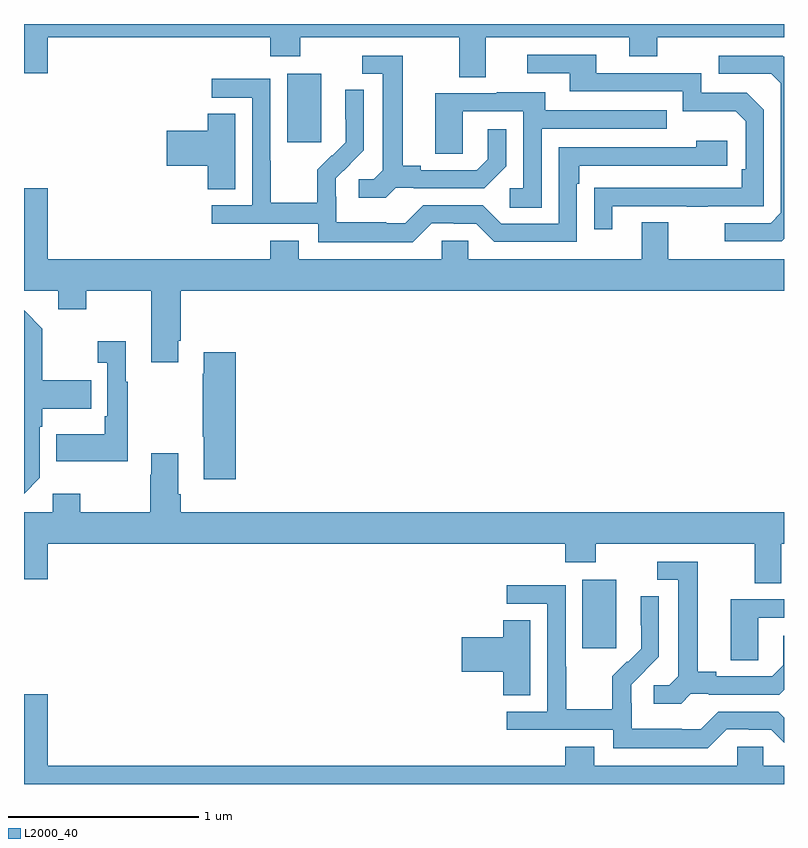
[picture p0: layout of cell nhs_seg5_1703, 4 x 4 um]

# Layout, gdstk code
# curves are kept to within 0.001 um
import gdstk
lib = gdstk.Library(unit=1e-6, precision=1e-09)
def R(c, l, rs):  # rectangles x0, y0, x1, y1
    for r in rs: c.add(gdstk.rectangle(r[:2], r[2:], *l))
def P(c, l, *ps):  # polygons
    for p in ps: c.add(gdstk.Polygon(p, *l))
L2000_40 = (2000, 40)

nhs_seg5_1703 = lib.new_cell('nhs_seg5_1703')
R(nhs_seg5_1703, L2000_40, [(215.939,885.513,216.118,885.874), (214.385,888.177,214.564,888.538)])
P(nhs_seg5_1703, L2000_40, [(215.431,888.728),(216.185,888.728),(216.185,888.629),(216.333,888.629),(216.333,888.728),(217,888.728),(217,888.799),(213,888.799),(213,888.54),(213.124,888.54),(213.124,888.728),(214.295,888.728),(214.295,888.629),(214.455,888.629),(214.455,888.728),(215.291,888.728),(215.291,888.52),(215.431,888.52)],
  [(216.097,887.841),(216.487,887.841),(216.487,887.836),(216.599,887.836),(216.599,887.841),(216.894,887.841),(216.894,888.348),(216.804,888.438),(216.564,888.438),(216.564,888.54),(216.013,888.54),(216.013,888.636),(215.649,888.636),(215.649,888.54),(215.873,888.54),(215.873,888.444),(216.468,888.444),(216.468,888.341),(216.745,888.341),(216.798,888.288),(216.798,888.034),(216.778,888.034),(216.778,887.937),(216.001,887.936),(216.001,887.718),(216.097,887.718)],
  [(214.956,887.937),(215.05,887.937),(215.05,887.934),(215.422,887.934),(215.538,888.05),(215.538,888.244),(215.441,888.244),(215.441,888.087),(215.384,888.03),(215.089,888.03),(215.089,888.053),(214.993,888.053),(214.993,888.633),(214.779,888.633),(214.779,888.537),(214.889,888.537),(214.889,888.029),(214.842,887.982),(214.761,887.982),(214.761,887.885),(214.904,887.885)],
  [(217,887.668),(217,888.626),(216.993,888.633),(216.657,888.633),(216.657,888.537),(216.933,888.537),(216.984,888.486),(216.984,887.805),(216.93,887.751),(216.687,887.751),(216.687,887.655),(216.987,887.655)],
  [(215.145,887.751),(215.261,887.751),(215.261,887.748),(215.379,887.748),(215.475,887.652),(215.91,887.652),(215.91,887.957),(215.923,887.957),(215.923,888.054),(216.7,888.054),(216.7,888.184),(216.539,888.184),(216.539,888.15),(215.814,888.15),(215.814,887.748),(215.511,887.748),(215.415,887.844),(215.1,887.844),(215.007,887.751),(214.907,887.751),(214.907,887.755),(214.644,887.755),(214.644,887.889),(214.642,887.889),(214.642,887.986),(214.788,888.134),(214.788,888.452),(214.692,888.452),(214.692,888.298),(214.694,888.298),(214.694,888.176),(214.623,888.105),(214.62,888.108),(214.543,888.031),(214.543,887.857),(214.299,887.857),(214.299,888.08),(214.296,888.08),(214.296,888.51),(213.987,888.51),(213.987,888.411),(214.2,888.411),(214.2,887.844),(213.987,887.844),(213.987,887.748),(214.548,887.748),(214.548,887.651),(215.045,887.651)],
  [(215.724,888.249),(216.383,888.249),(216.383,888.345),(215.743,888.345),(215.743,888.439),(215.489,888.439),(215.489,888.435),(215.165,888.435),(215.165,888.115),(215.31,888.115),(215.31,888.339),(215.628,888.339),(215.628,887.934),(215.556,887.934),(215.556,887.833),(215.724,887.833)],
  [(214.111,888.326),(213.968,888.326),(213.968,888.236),(213.75,888.236),(213.75,888.053),(213.968,888.053),(213.968,887.929),(214.111,887.929)],
  [(213.811,887.131),(213.824,887.131),(213.824,887.396),(217,887.396),(217,887.56),(216.391,887.56),(216.391,887.755),(216.251,887.755),(216.251,887.56),(215.337,887.56),(215.337,887.658),(215.199,887.658),(215.199,887.56),(214.447,887.56),(214.447,887.659),(214.295,887.659),(214.295,887.56),(213.124,887.56),(213.124,887.935),(213,887.935),(213,887.396),(213.179,887.396),(213.179,887.297),(213.327,887.297),(213.327,887.396),(213.671,887.396),(213.671,887.019),(213.811,887.019)],
  [(213.084,886.41),(213.084,886.679),(213.097,886.679),(213.097,886.775),(213.353,886.775),(213.353,886.923),(213.097,886.923),(213.097,887.195),(213,887.292),(213,886.326)],
  [(213.547,886.915),(213.535,886.915),(213.535,887.128),(213.387,887.128),(213.387,887.015),(213.438,887.015),(213.438,886.735),(213.426,886.735),(213.426,886.639),(213.169,886.639),(213.169,886.499),(213.547,886.499)],
  [(214.115,887.071),(213.947,887.071),(213.947,886.958),(213.94,886.958),(213.94,886.627),(213.947,886.627),(213.947,886.404),(214.115,886.404)],
  [(215.849,885.965),(216.009,885.965),(216.009,886.064),(216.845,886.064),(216.845,885.856),(216.985,885.856),(216.985,886.064),(217,886.064),(217,886.228),(213.824,886.228),(213.824,886.324),(213.811,886.324),(213.811,886.54),(213.671,886.54),(213.671,886.427),(213.664,886.427),(213.664,886.228),(213.297,886.228),(213.297,886.327),(213.15,886.327),(213.15,886.228),(213,886.228),(213,885.876),(213.124,885.876),(213.124,886.064),(215.849,886.064)],
  [(216.51,885.273),(216.604,885.273),(216.604,885.27),(216.976,885.27),(217,885.294),(217,885.58),(216.995,885.58),(216.995,885.423),(216.938,885.366),(216.643,885.366),(216.643,885.389),(216.547,885.389),(216.547,885.969),(216.333,885.969),(216.333,885.873),(216.443,885.873),(216.443,885.365),(216.396,885.318),(216.315,885.318),(216.315,885.221),(216.458,885.221)],
  [(216.699,885.087),(216.815,885.087),(216.815,885.084),(216.933,885.084),(217,885.017),(217,885.149),(216.969,885.18),(216.654,885.18),(216.561,885.087),(216.461,885.087),(216.461,885.091),(216.198,885.091),(216.198,885.225),(216.196,885.225),(216.196,885.322),(216.342,885.47),(216.342,885.788),(216.246,885.788),(216.246,885.634),(216.248,885.634),(216.248,885.512),(216.177,885.441),(216.174,885.444),(216.097,885.367),(216.097,885.193),(215.853,885.193),(215.853,885.416),(215.85,885.416),(215.85,885.846),(215.541,885.846),(215.541,885.747),(215.754,885.747),(215.754,885.18),(215.541,885.18),(215.541,885.084),(216.102,885.084),(216.102,884.987),(216.599,884.987)],
  [(216.864,885.675),(217,885.675),(217,885.771),(216.719,885.771),(216.719,885.451),(216.864,885.451)],
  [(215.665,885.662),(215.522,885.662),(215.522,885.572),(215.304,885.572),(215.304,885.389),(215.522,885.389),(215.522,885.265),(215.665,885.265)],
  [(217,884.896),(216.891,884.896),(216.891,884.994),(216.753,884.994),(216.753,884.896),(216.001,884.896),(216.001,884.995),(215.849,884.995),(215.849,884.896),(213.124,884.896),(213.124,885.271),(213,885.271),(213,884.799),(217,884.799)])

lib.write_gds('nhs_seg5_1703.gds')
